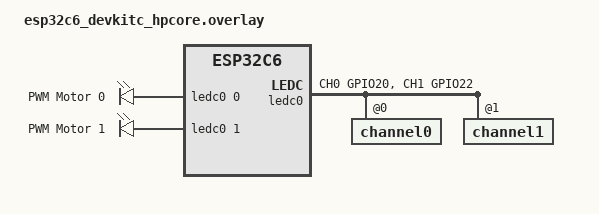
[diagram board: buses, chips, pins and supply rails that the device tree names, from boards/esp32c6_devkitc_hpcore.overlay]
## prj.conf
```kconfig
CONFIG_PRINTK=y
CONFIG_PWM=y
CONFIG_LOG=y
CONFIG_PWM_LOG_LEVEL_DBG=y
```

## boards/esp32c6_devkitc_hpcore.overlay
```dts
/*
 * SPDX-License-Identifier: Apache-2.0
 *
 * Overlay for 2 motor PWMs on ESP32C6 (custom PCB).
 * Motors on GPIOs 20, 21 via LEDC channels 0, 1.
 * 20 kHz PWM (same as working single-motor setup).
 */

#include <zephyr/dt-bindings/pwm/pwm.h>

/ {
	aliases {
		pwm-0 = &ledc0;
		pwm-motor0 = &pwm_motor0;
		pwm-motor1 = &pwm_motor1;
	};

	pwmleds {
		compatible = "pwm-leds";

		pwm_motor0: pwm_motor_gpio20 {
			label = "PWM Motor 0";
			pwms = <&ledc0 0 20000 PWM_POLARITY_NORMAL>;
		};

		pwm_motor1: pwm_motor_gpio22 {
			label = "PWM Motor 1";
			pwms = <&ledc0 1 20000 PWM_POLARITY_NORMAL>;
		};
	};
};

&pinctrl {
	ledc0_default: ledc0_default {
		group1 {
			pinmux = <LEDC_CH0_GPIO20>,
				 <LEDC_CH1_GPIO22>;
			output-enable;
		};
	};
};

&ledc0 {
	pinctrl-0 = <&ledc0_default>;
	pinctrl-names = "default";
	status = "okay";
	#address-cells = <1>;
	#size-cells = <0>;

	channel0@0 {
		reg = <0x0>;
		timer = <0>;
	};

	channel1@1 {
		reg = <0x1>;
		timer = <0>;
	};
};
```

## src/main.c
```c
/*
 * SPDX-License-Identifier: Apache-2.0
 *
 * Motor speed control via PWM for 2 motors (GPIOs 20, 21).
 * Same 20 kHz, high duty as the working single-motor setup.
 */

#include <zephyr/kernel.h>
#include <zephyr/sys/printk.h>
#include <zephyr/device.h>
#include <zephyr/drivers/pwm.h>

static const struct pwm_dt_spec pwm_motor0 = PWM_DT_SPEC_GET(DT_ALIAS(pwm_motor0));
static const struct pwm_dt_spec pwm_motor1 = PWM_DT_SPEC_GET(DT_ALIAS(pwm_motor1));

/* 20 kHz period (matches overlay), 50 us in nanoseconds */
#define MOTOR_PERIOD_NSEC (50U * 1000U)
/* High throttle: 95% duty */
#define MOTOR_PULSE_NSEC  ((MOTOR_PERIOD_NSEC * 95U) / 100U)

int main(void)
{
	int ret;

	printk("PWM motor speed control - 2 motors (high throttle)\n");

	if (!pwm_is_ready_dt(&pwm_motor0) || !pwm_is_ready_dt(&pwm_motor1)) {
		printk("Error: One or more PWM devices not ready\n");
		return 0;
	}

	printk("Motors on channels %d,%d, period %u nsec, pulse %u nsec\n",
	       pwm_motor0.channel, pwm_motor1.channel,
	       MOTOR_PERIOD_NSEC, MOTOR_PULSE_NSEC);

	ret = pwm_set_dt(&pwm_motor0, MOTOR_PERIOD_NSEC, MOTOR_PULSE_NSEC);
	if (ret) {
		printk("Error %d: motor 0 (GPIO20)\n", ret);
		return 0;
	}

	ret = pwm_set_dt(&pwm_motor1, MOTOR_PERIOD_NSEC, MOTOR_PULSE_NSEC);
	if (ret) {
		printk("Error %d: motor 1 (GPIO21)\n", ret);
		return 0;
	}

	printk("Both motors at high throttle.\n");

	while (1) {
		k_msleep(1000);
	}
	return 0;
}
```
